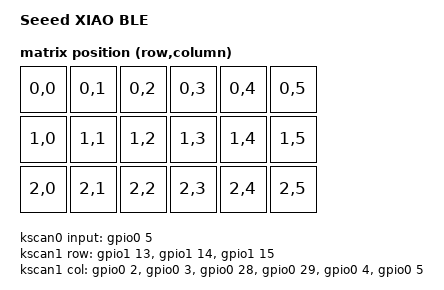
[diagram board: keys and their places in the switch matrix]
/*
 * Copyright (c) 2022-2023 Marcin Niestroj
 *
 * SPDX-License-Identifier: Apache-2.0
 */

/dts-v1/;
#include "xiao_ble_common.dtsi"
#include <dt-bindings/zmk/matrix_transform.h>

/ {
	model = "Seeed XIAO BLE";
	compatible = "seeed,xiao-ble";

	chosen {
        zephyr,code-partition = &code_partition;
        zephyr,sram = &sram0;
        zephyr,flash = &flash0;
        zmk,kscan = &kscan1;
        zmk,matrix-transform = &transform1;
    };

    kscan0: kscan_direct {
        compatible = "zmk,kscan-gpio-direct";
        wakeup-source;
        input-gpios = <&gpio0 5 (GPIO_ACTIVE_LOW | GPIO_PULL_UP)>;
    };

    kscan1: kscan_matrix {
        compatible = "zmk,kscan-gpio-matrix";
        wakeup-source;
        diode-direction = "col2row";
        col-gpios = <&gpio0 2 GPIO_ACTIVE_HIGH>,
                    <&gpio0 3 GPIO_ACTIVE_HIGH>,
                    <&gpio0 28 GPIO_ACTIVE_HIGH>,
                    <&gpio0 29 GPIO_ACTIVE_HIGH>,
                    <&gpio0 4 GPIO_ACTIVE_HIGH>,
                    <&gpio0 5 GPIO_ACTIVE_HIGH>;
        row-gpios = <&gpio1 13 (GPIO_ACTIVE_HIGH | GPIO_PULL_DOWN)>,
                    <&gpio1 14 (GPIO_ACTIVE_HIGH | GPIO_PULL_DOWN)>,
                    <&gpio1 15 (GPIO_ACTIVE_HIGH | GPIO_PULL_DOWN)>;
    };
    // transform0: matrix_transform {
    //     compatible = "zmk,matrix-transform";
    //     columns = <1>;
    //     rows = <1>;
    //     map = <
    //         RC(0,0)
    //     >;
    // };
    transform1: matrix_transform {
        compatible = "zmk,matrix-transform";
        columns = <6>;
        rows = <3>;
        map = <
            RC(0,0) RC(0,1) RC(0,2) RC(0,3) RC(0,4) RC(0,5)
            RC(1,0) RC(1,1) RC(1,2) RC(1,3) RC(1,4) RC(1,5)
            RC(2,0) RC(2,1) RC(2,2) RC(2,3) RC(2,4) RC(2,5)
        >;
    };
};

&rtc0 {
	status = "okay";
};

// &spi0 {
// 	status = "disabled";
// };

// &spi1 {
// 	status = "disabled";
// };

// &spi2 {
// 	status = "disabled";
// };

// &spi3 {
// 	status = "disabled";
// };

&uart0 {
	status = "disabled";
};

&adc {
	status = "disabled";
};

&i2c1 {
	status = "disabled";
};

&pwm0 {
	status = "disabled";
};

&ieee802154 {
	status = "disabled";
};


// &spi2_default {
//     group1 {
//         psels = <NRF_PSEL(SPIM_SCK, 0, 21)>,
//                 <NRF_PSEL(SPIM_MOSI, 0, 20)>,
//                 <NRF_PSEL(SPIM_MISO, 0, 24)>;
//     };
// };

// &spi2_sleep {
//     group1 {
//         psels = <NRF_PSEL(SPIM_SCK, 0, 21)>,
//                 <NRF_PSEL(SPIM_MOSI, 0, 20)>,
//                 <NRF_PSEL(SPIM_MISO, 0, 24)>;
//         low-power-enable;
//     };
// };

// &spi2 {
//     status = "okay";
//     pinctrl-0 = <&spi2_default>;
//     pinctrl-1 = <&spi2_sleep>;
//     pinctrl-names = "default", "sleep";
//     cs-gpios = <&gpio0 25 GPIO_ACTIVE_LOW>;
//     p25q16h_spi: p25q16h@0 {
//         compatible = "jedec,spi-nor";
//         reg = <0>;
//         wp-gpios = <&gpio0 22 GPIO_ACTIVE_LOW>;
//         hold-gpios = <&gpio0 23 GPIO_ACTIVE_LOW>;
//         spi-max-frequency = <104000000>;
//         jedec-id = [ 85 60 15  ];
//         sfdp-bfp = [ e5 20 f1 ff ff ff ff 00 44 eb 08 6b 08 3b 80 bb ee ff ff ff ff ff 00 ff ff ff 00 ff 0c 20 0f 52 10 d8 08 81  ];
//         size = <16777216>;
//         has-dpd;
//         t-enter-dpd = <3000>;
//         t-exit-dpd = <8000>;
//     };
// };

// &qspi {
// 	status = "disabled";
// };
